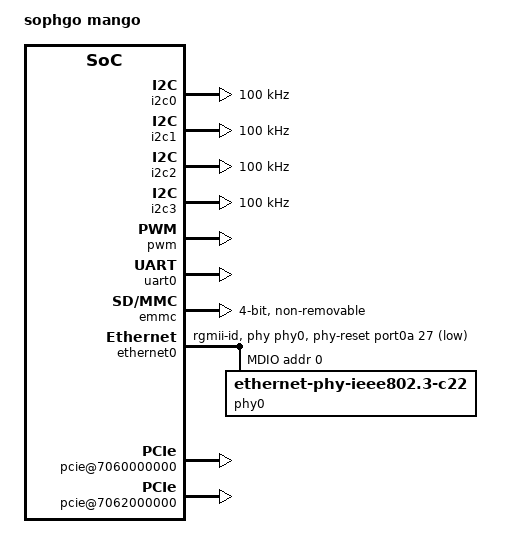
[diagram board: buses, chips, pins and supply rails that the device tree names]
/dts-v1/;
#include <dt-bindings/clock/sophgo.h>
#include <dt-bindings/clock/mango-clock.h>
#include <dt-bindings/reset/mango-resets.h>

#include "mango_clock.dtsi"
#include "mango_pinctrl.dtsi"

/ {
	model = "sophgo mango";
	compatible = "sophgo, sg2040_mango_pld";
	#address-cells = <2>;
	#size-cells = <2>;

	distance-map {
		compatible = "numa-distance-map-v1";
		distance-matrix = <0 0 10>,
				  <0 1 15>,
				  <0 2 25>,
				  <0 3 30>,
				  <1 0 15>,
				  <1 1 10>,
				  <1 2 30>,
				  <1 3 25>,
				  <2 0 25>,
				  <2 1 30>,
				  <2 2 10>,
				  <2 3 15>,
				  <3 0 30>,
				  <3 1 25>,
				  <3 2 15>,
				  <3 3 10>;
	};

	/* the mem node will be updated by ZSBL. */
	memory@0 {
		device_type = "memory";
		reg = <0x00000000 0x00000000 0x00000000 0x00000000>;
		numa-node-id = <0>;
	};
	memory@1 {
		device_type = "memory";
		reg = <0x00000000 0x00000001 0x00000000 0x00000000>;
		numa-node-id = <1>;
	};
	memory@2 {
		device_type = "memory";
		reg = <0x00000000 0x00000002 0x00000000 0x00000000>;
		numa-node-id = <2>;
	};
	memory@3 {
		device_type = "memory";
		reg = <0x00000000 0x00000003 0x00000000 0x00000000>;
		numa-node-id = <3>;
	};


	cpus {
		#address-cells = <1>;
		#size-cells = <0>;
		timebase-frequency = <50000000>;
		cpu@0 {
			device_type = "cpu";
			reg = <0>;
			status = "okay";
			compatible = "riscv";
			riscv,isa = "rv64imafdcvsu";
			mmu-type = "riscv,sv39";
			numa-node-id = <0>;
			cpu0_intc: interrupt-controller {
				#interrupt-cells = <1>;
				compatible = "riscv,cpu-intc";
				interrupt-controller;
			};
		};
		cpu@1 {
			device_type = "cpu";
			reg = <1>;
			status = "okay";
			compatible = "riscv";
			riscv,isa = "rv64imafdcvsu";
			mmu-type = "riscv,sv39";
			numa-node-id = <0>;
			cpu1_intc: interrupt-controller {
				#interrupt-cells = <1>;
				compatible = "riscv,cpu-intc";
				interrupt-controller;
			};
		};
		cpu@2 {
			device_type = "cpu";
			reg = <2>;
			status = "okay";
			compatible = "riscv";
			riscv,isa = "rv64imafdcvsu";
			mmu-type = "riscv,sv39";
			numa-node-id = <0>;
			cpu2_intc: interrupt-controller {
				#interrupt-cells = <1>;
				compatible = "riscv,cpu-intc";
				interrupt-controller;
			};
		};
		cpu@3 {
			device_type = "cpu";
			reg = <3>;
			status = "okay";
			compatible = "riscv";
			riscv,isa = "rv64imafdcvsu";
			mmu-type = "riscv,sv39";
			numa-node-id = <0>;
			cpu3_intc: interrupt-controller {
				#interrupt-cells = <1>;
				compatible = "riscv,cpu-intc";
				interrupt-controller;
			};
		};
		cpu@4 {
			device_type = "cpu";
			reg = <4>;
			status = "okay";
			compatible = "riscv";
			riscv,isa = "rv64imafdcvsu";
			mmu-type = "riscv,sv39";
			numa-node-id = <0>;
			cpu4_intc: interrupt-controller {
				#interrupt-cells = <1>;
				compatible = "riscv,cpu-intc";
				interrupt-controller;
			};
		};
		cpu@5 {
			device_type = "cpu";
			reg = <5>;
			status = "okay";
			compatible = "riscv";
			riscv,isa = "rv64imafdcvsu";
			mmu-type = "riscv,sv39";
			numa-node-id = <0>;
			cpu5_intc: interrupt-controller {
				#interrupt-cells = <1>;
				compatible = "riscv,cpu-intc";
				interrupt-controller;
			};
		};
		cpu@6 {
			device_type = "cpu";
			reg = <6>;
			status = "okay";
			compatible = "riscv";
			riscv,isa = "rv64imafdcvsu";
			mmu-type = "riscv,sv39";
			numa-node-id = <0>;
			cpu6_intc: interrupt-controller {
				#interrupt-cells = <1>;
				compatible = "riscv,cpu-intc";
				interrupt-controller;
			};
		};
		cpu@7 {
			device_type = "cpu";
			reg = <7>;
			status = "okay";
			compatible = "riscv";
			riscv,isa = "rv64imafdcvsu";
			mmu-type = "riscv,sv39";
			numa-node-id = <0>;
			cpu7_intc: interrupt-controller {
				#interrupt-cells = <1>;
				compatible = "riscv,cpu-intc";
				interrupt-controller;
			};
		};
		cpu@8 {
			device_type = "cpu";
			reg = <8>;
			status = "okay";
			compatible = "riscv";
			riscv,isa = "rv64imafdcvsu";
			mmu-type = "riscv,sv39";
			numa-node-id = <1>;
			cpu8_intc: interrupt-controller {
				#interrupt-cells = <1>;
				compatible = "riscv,cpu-intc";
				interrupt-controller;
			};
		};
		cpu@9 {
			device_type = "cpu";
			reg = <9>;
			status = "okay";
			compatible = "riscv";
			riscv,isa = "rv64imafdcvsu";
			mmu-type = "riscv,sv39";
			numa-node-id = <1>;
			cpu9_intc: interrupt-controller {
				#interrupt-cells = <1>;
				compatible = "riscv,cpu-intc";
				interrupt-controller;
			};
		};
		cpu@10 {
			device_type = "cpu";
			reg = <10>;
			status = "okay";
			compatible = "riscv";
			riscv,isa = "rv64imafdcvsu";
			mmu-type = "riscv,sv39";
			numa-node-id = <1>;
			cpu10_intc: interrupt-controller {
				#interrupt-cells = <1>;
				compatible = "riscv,cpu-intc";
				interrupt-controller;
			};
		};
		cpu@11 {
			device_type = "cpu";
			reg = <11>;
			status = "okay";
			compatible = "riscv";
			riscv,isa = "rv64imafdcvsu";
			mmu-type = "riscv,sv39";
			numa-node-id = <1>;
			cpu11_intc: interrupt-controller {
				#interrupt-cells = <1>;
				compatible = "riscv,cpu-intc";
				interrupt-controller;
			};
		};
		cpu@12 {
			device_type = "cpu";
			reg = <12>;
			status = "okay";
			compatible = "riscv";
			riscv,isa = "rv64imafdcvsu";
			mmu-type = "riscv,sv39";
			numa-node-id = <1>;
			cpu12_intc: interrupt-controller {
				#interrupt-cells = <1>;
				compatible = "riscv,cpu-intc";
				interrupt-controller;
			};
		};
		cpu@13 {
			device_type = "cpu";
			reg = <13>;
			status = "okay";
			compatible = "riscv";
			riscv,isa = "rv64imafdcvsu";
			mmu-type = "riscv,sv39";
			numa-node-id = <1>;
			cpu13_intc: interrupt-controller {
				#interrupt-cells = <1>;
				compatible = "riscv,cpu-intc";
				interrupt-controller;
			};
		};
		cpu@14 {
			device_type = "cpu";
			reg = <14>;
			status = "okay";
			compatible = "riscv";
			riscv,isa = "rv64imafdcvsu";
			mmu-type = "riscv,sv39";
			numa-node-id = <1>;
			cpu14_intc: interrupt-controller {
				#interrupt-cells = <1>;
				compatible = "riscv,cpu-intc";
				interrupt-controller;
			};
		};
		cpu@15 {
			device_type = "cpu";
			reg = <15>;
			status = "okay";
			compatible = "riscv";
			riscv,isa = "rv64imafdcvsu";
			mmu-type = "riscv,sv39";
			numa-node-id = <1>;
			cpu15_intc: interrupt-controller {
				#interrupt-cells = <1>;
				compatible = "riscv,cpu-intc";
				interrupt-controller;
			};
		};
		cpu@16 {
			device_type = "cpu";
			reg = <16>;
			status = "okay";
			compatible = "riscv";
			riscv,isa = "rv64imafdcvsu";
			mmu-type = "riscv,sv39";
			numa-node-id = <0>;
			cpu16_intc: interrupt-controller {
				#interrupt-cells = <1>;
				compatible = "riscv,cpu-intc";
				interrupt-controller;
			};
		};
		cpu@17 {
			device_type = "cpu";
			reg = <17>;
			status = "okay";
			compatible = "riscv";
			riscv,isa = "rv64imafdcvsu";
			mmu-type = "riscv,sv39";
			numa-node-id = <0>;
			cpu17_intc: interrupt-controller {
				#interrupt-cells = <1>;
				compatible = "riscv,cpu-intc";
				interrupt-controller;
			};
		};
		cpu@18 {
			device_type = "cpu";
			reg = <18>;
			status = "okay";
			compatible = "riscv";
			riscv,isa = "rv64imafdcvsu";
			mmu-type = "riscv,sv39";
			numa-node-id = <0>;
			cpu18_intc: interrupt-controller {
				#interrupt-cells = <1>;
				compatible = "riscv,cpu-intc";
				interrupt-controller;
			};
		};
		cpu@19 {
			device_type = "cpu";
			reg = <19>;
			status = "okay";
			compatible = "riscv";
			riscv,isa = "rv64imafdcvsu";
			mmu-type = "riscv,sv39";
			numa-node-id = <0>;
			cpu19_intc: interrupt-controller {
				#interrupt-cells = <1>;
				compatible = "riscv,cpu-intc";
				interrupt-controller;
			};
		};
		cpu@20 {
			device_type = "cpu";
			reg = <20>;
			status = "okay";
			compatible = "riscv";
			riscv,isa = "rv64imafdcvsu";
			mmu-type = "riscv,sv39";
			numa-node-id = <0>;
			cpu20_intc: interrupt-controller {
				#interrupt-cells = <1>;
				compatible = "riscv,cpu-intc";
				interrupt-controller;
			};
		};
		cpu@21 {
			device_type = "cpu";
			reg = <21>;
			status = "okay";
			compatible = "riscv";
			riscv,isa = "rv64imafdcvsu";
			mmu-type = "riscv,sv39";
			numa-node-id = <0>;
			cpu21_intc: interrupt-controller {
				#interrupt-cells = <1>;
				compatible = "riscv,cpu-intc";
				interrupt-controller;
			};
		};
		cpu@22 {
			device_type = "cpu";
			reg = <22>;
			status = "okay";
			compatible = "riscv";
			riscv,isa = "rv64imafdcvsu";
			mmu-type = "riscv,sv39";
			numa-node-id = <0>;
			cpu22_intc: interrupt-controller {
				#interrupt-cells = <1>;
				compatible = "riscv,cpu-intc";
				interrupt-controller;
			};
		};
		cpu@23 {
			device_type = "cpu";
			reg = <23>;
			status = "okay";
			compatible = "riscv";
			riscv,isa = "rv64imafdcvsu";
			mmu-type = "riscv,sv39";
			numa-node-id = <0>;
			cpu23_intc: interrupt-controller {
				#interrupt-cells = <1>;
				compatible = "riscv,cpu-intc";
				interrupt-controller;
			};
		};
		cpu@24 {
			device_type = "cpu";
			reg = <24>;
			status = "okay";
			compatible = "riscv";
			riscv,isa = "rv64imafdcvsu";
			mmu-type = "riscv,sv39";
			numa-node-id = <1>;
			cpu24_intc: interrupt-controller {
				#interrupt-cells = <1>;
				compatible = "riscv,cpu-intc";
				interrupt-controller;
			};
		};
		cpu@25 {
			device_type = "cpu";
			reg = <25>;
			status = "okay";
			compatible = "riscv";
			riscv,isa = "rv64imafdcvsu";
			mmu-type = "riscv,sv39";
			numa-node-id = <1>;
			cpu25_intc: interrupt-controller {
				#interrupt-cells = <1>;
				compatible = "riscv,cpu-intc";
				interrupt-controller;
			};
		};
		cpu@26 {
			device_type = "cpu";
			reg = <26>;
			status = "okay";
			compatible = "riscv";
			riscv,isa = "rv64imafdcvsu";
			mmu-type = "riscv,sv39";
			numa-node-id = <1>;
			cpu26_intc: interrupt-controller {
				#interrupt-cells = <1>;
				compatible = "riscv,cpu-intc";
				interrupt-controller;
			};
		};
		cpu@27 {
			device_type = "cpu";
			reg = <27>;
			status = "okay";
			compatible = "riscv";
			riscv,isa = "rv64imafdcvsu";
			mmu-type = "riscv,sv39";
			numa-node-id = <1>;
			cpu27_intc: interrupt-controller {
				#interrupt-cells = <1>;
				compatible = "riscv,cpu-intc";
				interrupt-controller;
			};
		};
		cpu@28 {
			device_type = "cpu";
			reg = <28>;
			status = "okay";
			compatible = "riscv";
			riscv,isa = "rv64imafdcvsu";
			mmu-type = "riscv,sv39";
			numa-node-id = <1>;
			cpu28_intc: interrupt-controller {
				#interrupt-cells = <1>;
				compatible = "riscv,cpu-intc";
				interrupt-controller;
			};
		};
		cpu@29 {
			device_type = "cpu";
			reg = <29>;
			status = "okay";
			compatible = "riscv";
			riscv,isa = "rv64imafdcvsu";
			mmu-type = "riscv,sv39";
			numa-node-id = <1>;
			cpu29_intc: interrupt-controller {
				#interrupt-cells = <1>;
				compatible = "riscv,cpu-intc";
				interrupt-controller;
			};
		};
		cpu@30 {
			device_type = "cpu";
			reg = <30>;
			status = "okay";
			compatible = "riscv";
			riscv,isa = "rv64imafdcvsu";
			mmu-type = "riscv,sv39";
			numa-node-id = <1>;
			cpu30_intc: interrupt-controller {
				#interrupt-cells = <1>;
				compatible = "riscv,cpu-intc";
				interrupt-controller;
			};
		};
		cpu@31 {
			device_type = "cpu";
			reg = <31>;
			status = "okay";
			compatible = "riscv";
			riscv,isa = "rv64imafdcvsu";
			mmu-type = "riscv,sv39";
			numa-node-id = <1>;
			cpu31_intc: interrupt-controller {
				#interrupt-cells = <1>;
				compatible = "riscv,cpu-intc";
				interrupt-controller;
			};
		};
		cpu@32 {
			device_type = "cpu";
			reg = <32>;
			status = "okay";
			compatible = "riscv";
			riscv,isa = "rv64imafdcvsu";
			mmu-type = "riscv,sv39";
			numa-node-id = <2>;
			cpu32_intc: interrupt-controller {
				#interrupt-cells = <1>;
				compatible = "riscv,cpu-intc";
				interrupt-controller;
			};
		};
		cpu@33 {
			device_type = "cpu";
			reg = <33>;
			status = "okay";
			compatible = "riscv";
			riscv,isa = "rv64imafdcvsu";
			mmu-type = "riscv,sv39";
			numa-node-id = <2>;
			cpu33_intc: interrupt-controller {
				#interrupt-cells = <1>;
				compatible = "riscv,cpu-intc";
				interrupt-controller;
			};
		};
		cpu@34 {
			device_type = "cpu";
			reg = <34>;
			status = "okay";
			compatible = "riscv";
			riscv,isa = "rv64imafdcvsu";
			mmu-type = "riscv,sv39";
			numa-node-id = <2>;
			cpu34_intc: interrupt-controller {
				#interrupt-cells = <1>;
				compatible = "riscv,cpu-intc";
				interrupt-controller;
			};
		};
		cpu@35 {
			device_type = "cpu";
			reg = <35>;
			status = "okay";
			compatible = "riscv";
			riscv,isa = "rv64imafdcvsu";
			mmu-type = "riscv,sv39";
			numa-node-id = <2>;
			cpu35_intc: interrupt-controller {
				#interrupt-cells = <1>;
				compatible = "riscv,cpu-intc";
				interrupt-controller;
			};
		};
		cpu@36 {
			device_type = "cpu";
			reg = <36>;
			status = "okay";
			compatible = "riscv";
			riscv,isa = "rv64imafdcvsu";
			mmu-type = "riscv,sv39";
			numa-node-id = <2>;
			cpu36_intc: interrupt-controller {
				#interrupt-cells = <1>;
				compatible = "riscv,cpu-intc";
				interrupt-controller;
			};
		};
		cpu@37 {
			device_type = "cpu";
			reg = <37>;
			status = "okay";
			compatible = "riscv";
			riscv,isa = "rv64imafdcvsu";
			mmu-type = "riscv,sv39";
			numa-node-id = <2>;
			cpu37_intc: interrupt-controller {
				#interrupt-cells = <1>;
				compatible = "riscv,cpu-intc";
				interrupt-controller;
			};
		};
		cpu@38 {
			device_type = "cpu";
			reg = <38>;
			status = "okay";
			compatible = "riscv";
			riscv,isa = "rv64imafdcvsu";
			mmu-type = "riscv,sv39";
			numa-node-id = <2>;
			cpu38_intc: interrupt-controller {
				#interrupt-cells = <1>;
				compatible = "riscv,cpu-intc";
				interrupt-controller;
			};
		};
		cpu@39 {
			device_type = "cpu";
			reg = <39>;
			status = "okay";
			compatible = "riscv";
			riscv,isa = "rv64imafdcvsu";
			mmu-type = "riscv,sv39";
			numa-node-id = <2>;
			cpu39_intc: interrupt-controller {
				#interrupt-cells = <1>;
				compatible = "riscv,cpu-intc";
				interrupt-controller;
			};
		};
		cpu@40 {
			device_type = "cpu";
			reg = <40>;
			status = "okay";
			compatible = "riscv";
			riscv,isa = "rv64imafdcvsu";
			mmu-type = "riscv,sv39";
			numa-node-id = <3>;
			cpu40_intc: interrupt-controller {
				#interrupt-cells = <1>;
				compatible = "riscv,cpu-intc";
				interrupt-controller;
			};
		};
		cpu@41 {
			device_type = "cpu";
			reg = <41>;
			status = "okay";
			compatible = "riscv";
			riscv,isa = "rv64imafdcvsu";
			mmu-type = "riscv,sv39";
			numa-node-id = <3>;
			cpu41_intc: interrupt-controller {
				#interrupt-cells = <1>;
				compatible = "riscv,cpu-intc";
				interrupt-controller;
			};
		};
		cpu@42 {
			device_type = "cpu";
			reg = <42>;
			status = "okay";
			compatible = "riscv";
			riscv,isa = "rv64imafdcvsu";
			mmu-type = "riscv,sv39";
			numa-node-id = <3>;
			cpu42_intc: interrupt-controller {
				#interrupt-cells = <1>;
				compatible = "riscv,cpu-intc";
				interrupt-controller;
			};
		};
		cpu@43 {
			device_type = "cpu";
			reg = <43>;
			status = "okay";
			compatible = "riscv";
			riscv,isa = "rv64imafdcvsu";
			mmu-type = "riscv,sv39";
			numa-node-id = <3>;
			cpu43_intc: interrupt-controller {
				#interrupt-cells = <1>;
				compatible = "riscv,cpu-intc";
				interrupt-controller;
			};
		};
		cpu@44 {
			device_type = "cpu";
			reg = <44>;
			status = "okay";
			compatible = "riscv";
			riscv,isa = "rv64imafdcvsu";
			mmu-type = "riscv,sv39";
			numa-node-id = <3>;
			cpu44_intc: interrupt-controller {
				#interrupt-cells = <1>;
				compatible = "riscv,cpu-intc";
				interrupt-controller;
			};
		};
		cpu@45 {
			device_type = "cpu";
			reg = <45>;
			status = "okay";
			compatible = "riscv";
			riscv,isa = "rv64imafdcvsu";
			mmu-type = "riscv,sv39";
			numa-node-id = <3>;
			cpu45_intc: interrupt-controller {
				#interrupt-cells = <1>;
				compatible = "riscv,cpu-intc";
				interrupt-controller;
			};
		};
		cpu@46 {
			device_type = "cpu";
			reg = <46>;
			status = "okay";
			compatible = "riscv";
			riscv,isa = "rv64imafdcvsu";
			mmu-type = "riscv,sv39";
			numa-node-id = <3>;
			cpu46_intc: interrupt-controller {
				#interrupt-cells = <1>;
				compatible = "riscv,cpu-intc";
				interrupt-controller;
			};
		};
		cpu@47 {
			device_type = "cpu";
			reg = <47>;
			status = "okay";
			compatible = "riscv";
			riscv,isa = "rv64imafdcvsu";
			mmu-type = "riscv,sv39";
			numa-node-id = <3>;
			cpu47_intc: interrupt-controller {
				#interrupt-cells = <1>;
				compatible = "riscv,cpu-intc";
				interrupt-controller;
			};
		};
		cpu@48 {
			device_type = "cpu";
			reg = <48>;
			status = "okay";
			compatible = "riscv";
			riscv,isa = "rv64imafdcvsu";
			mmu-type = "riscv,sv39";
			numa-node-id = <2>;
			cpu48_intc: interrupt-controller {
				#interrupt-cells = <1>;
				compatible = "riscv,cpu-intc";
				interrupt-controller;
			};
		};
		cpu@49 {
			device_type = "cpu";
			reg = <49>;
			status = "okay";
			compatible = "riscv";
			riscv,isa = "rv64imafdcvsu";
			mmu-type = "riscv,sv39";
			numa-node-id = <2>;
			cpu49_intc: interrupt-controller {
				#interrupt-cells = <1>;
				compatible = "riscv,cpu-intc";
				interrupt-controller;
			};
		};
		cpu@50 {
			device_type = "cpu";
			reg = <50>;
			status = "okay";
			compatible = "riscv";
			riscv,isa = "rv64imafdcvsu";
			mmu-type = "riscv,sv39";
			numa-node-id = <2>;
			cpu50_intc: interrupt-controller {
				#interrupt-cells = <1>;
				compatible = "riscv,cpu-intc";
				interrupt-controller;
			};
		};
		cpu@51 {
			device_type = "cpu";
			reg = <51>;
			status = "okay";
			compatible = "riscv";
			riscv,isa = "rv64imafdcvsu";
			mmu-type = "riscv,sv39";
			numa-node-id = <2>;
			cpu51_intc: interrupt-controller {
				#interrupt-cells = <1>;
				compatible = "riscv,cpu-intc";
				interrupt-controller;
			};
		};
		cpu@52 {
			device_type = "cpu";
			reg = <52>;
			status = "okay";
			compatible = "riscv";
			riscv,isa = "rv64imafdcvsu";
			mmu-type = "riscv,sv39";
			numa-node-id = <2>;
			cpu52_intc: interrupt-controller {
				#interrupt-cells = <1>;
				compatible = "riscv,cpu-intc";
				interrupt-controller;
			};
		};
		cpu@53 {
			device_type = "cpu";
			reg = <53>;
			status = "okay";
			compatible = "riscv";
			riscv,isa = "rv64imafdcvsu";
			mmu-type = "riscv,sv39";
			numa-node-id = <2>;
			cpu53_intc: interrupt-controller {
				#interrupt-cells = <1>;
				compatible = "riscv,cpu-intc";
				interrupt-controller;
			};
		};
		cpu@54 {
			device_type = "cpu";
			reg = <54>;
			status = "okay";
			compatible = "riscv";
			riscv,isa = "rv64imafdcvsu";
			mmu-type = "riscv,sv39";
			numa-node-id = <2>;
			cpu54_intc: interrupt-controller {
				#interrupt-cells = <1>;
				compatible = "riscv,cpu-intc";
				interrupt-controller;
			};
		};
		cpu@55 {
			device_type = "cpu";
			reg = <55>;
			status = "okay";
			compatible = "riscv";
			riscv,isa = "rv64imafdcvsu";
			mmu-type = "riscv,sv39";
			numa-node-id = <2>;
			cpu55_intc: interrupt-controller {
				#interrupt-cells = <1>;
				compatible = "riscv,cpu-intc";
				interrupt-controller;
			};
		};
		cpu@56 {
			device_type = "cpu";
			reg = <56>;
			status = "okay";
			compatible = "riscv";
			riscv,isa = "rv64imafdcvsu";
			mmu-type = "riscv,sv39";
			numa-node-id = <3>;
			cpu56_intc: interrupt-controller {
				#interrupt-cells = <1>;
				compatible = "riscv,cpu-intc";
				interrupt-controller;
			};
		};
		cpu@57 {
			device_type = "cpu";
			reg = <57>;
			status = "okay";
			compatible = "riscv";
			riscv,isa = "rv64imafdcvsu";
			mmu-type = "riscv,sv39";
			numa-node-id = <3>;
			cpu57_intc: interrupt-controller {
				#interrupt-cells = <1>;
				compatible = "riscv,cpu-intc";
				interrupt-controller;
			};
		};
		cpu@58 {
			device_type = "cpu";
			reg = <58>;
			status = "okay";
			compatible = "riscv";
			riscv,isa = "rv64imafdcvsu";
			mmu-type = "riscv,sv39";
			numa-node-id = <3>;
			cpu58_intc: interrupt-controller {
				#interrupt-cells = <1>;
				compatible = "riscv,cpu-intc";
				interrupt-controller;
			};
		};
		cpu@59 {
			device_type = "cpu";
			reg = <59>;
			status = "okay";
			compatible = "riscv";
			riscv,isa = "rv64imafdcvsu";
			mmu-type = "riscv,sv39";
			numa-node-id = <3>;
			cpu59_intc: interrupt-controller {
				#interrupt-cells = <1>;
				compatible = "riscv,cpu-intc";
				interrupt-controller;
			};
		};
		cpu@60 {
			device_type = "cpu";
			reg = <60>;
			status = "okay";
			compatible = "riscv";
			riscv,isa = "rv64imafdcvsu";
			mmu-type = "riscv,sv39";
			numa-node-id = <3>;
			cpu60_intc: interrupt-controller {
				#interrupt-cells = <1>;
				compatible = "riscv,cpu-intc";
				interrupt-controller;
			};
		};
		cpu@61 {
			device_type = "cpu";
			reg = <61>;
			status = "okay";
			compatible = "riscv";
			riscv,isa = "rv64imafdcvsu";
			mmu-type = "riscv,sv39";
			numa-node-id = <3>;
			cpu61_intc: interrupt-controller {
				#interrupt-cells = <1>;
				compatible = "riscv,cpu-intc";
				interrupt-controller;
			};
		};
		cpu@62 {
			device_type = "cpu";
			reg = <62>;
			status = "okay";
			compatible = "riscv";
			riscv,isa = "rv64imafdcvsu";
			mmu-type = "riscv,sv39";
			numa-node-id = <3>;
			cpu62_intc: interrupt-controller {
				#interrupt-cells = <1>;
				compatible = "riscv,cpu-intc";
				interrupt-controller;
			};
		};
		cpu@63 {
			device_type = "cpu";
			reg = <63>;
			status = "okay";
			compatible = "riscv";
			riscv,isa = "rv64imafdcvsu";
			mmu-type = "riscv,sv39";
			numa-node-id = <3>;
			cpu63_intc: interrupt-controller {
				#interrupt-cells = <1>;
				compatible = "riscv,cpu-intc";
				interrupt-controller;
			};
		};
	};

	soc {
		#address-cells = <2>;
		#size-cells = <2>;
		compatible = "simple-bus";
		ranges;

		intc: interrupt-controller@7090000000 {
			#interrupt-cells = <1>;
			compatible = "riscv,plic0";
			interrupt-controller;
			interrupts-extended = <
				&cpu0_intc  0xffffffff &cpu0_intc  9
				&cpu1_intc  0xffffffff &cpu1_intc  9
				&cpu2_intc  0xffffffff &cpu2_intc  9
				&cpu3_intc  0xffffffff &cpu3_intc  9
				&cpu4_intc  0xffffffff &cpu4_intc  9
				&cpu5_intc  0xffffffff &cpu5_intc  9
				&cpu6_intc  0xffffffff &cpu6_intc  9
				&cpu7_intc  0xffffffff &cpu7_intc  9
				&cpu8_intc  0xffffffff &cpu8_intc  9
				&cpu9_intc  0xffffffff &cpu9_intc  9
				&cpu10_intc  0xffffffff &cpu10_intc  9
				&cpu11_intc  0xffffffff &cpu11_intc  9
				&cpu12_intc  0xffffffff &cpu12_intc  9
				&cpu13_intc  0xffffffff &cpu13_intc  9
				&cpu14_intc  0xffffffff &cpu14_intc  9
				&cpu15_intc  0xffffffff &cpu15_intc  9
				&cpu16_intc  0xffffffff &cpu16_intc  9
				&cpu17_intc  0xffffffff &cpu17_intc  9
				&cpu18_intc  0xffffffff &cpu18_intc  9
				&cpu19_intc  0xffffffff &cpu19_intc  9
				&cpu20_intc  0xffffffff &cpu20_intc  9
				&cpu21_intc  0xffffffff &cpu21_intc  9
				&cpu22_intc  0xffffffff &cpu22_intc  9
				&cpu23_intc  0xffffffff &cpu23_intc  9
				&cpu24_intc  0xffffffff &cpu24_intc  9
				&cpu25_intc  0xffffffff &cpu25_intc  9
				&cpu26_intc  0xffffffff &cpu26_intc  9
				&cpu27_intc  0xffffffff &cpu27_intc  9
				&cpu28_intc  0xffffffff &cpu28_intc  9
				&cpu29_intc  0xffffffff &cpu29_intc  9
				&cpu30_intc  0xffffffff &cpu30_intc  9
				&cpu31_intc  0xffffffff &cpu31_intc  9
				&cpu32_intc  0xffffffff &cpu32_intc  9
				&cpu33_intc  0xffffffff &cpu33_intc  9
				&cpu34_intc  0xffffffff &cpu34_intc  9
				&cpu35_intc  0xffffffff &cpu35_intc  9
				&cpu36_intc  0xffffffff &cpu36_intc  9
				&cpu37_intc  0xffffffff &cpu37_intc  9
				&cpu38_intc  0xffffffff &cpu38_intc  9
				&cpu39_intc  0xffffffff &cpu39_intc  9
				&cpu40_intc  0xffffffff &cpu40_intc  9
				&cpu41_intc  0xffffffff &cpu41_intc  9
				&cpu42_intc  0xffffffff &cpu42_intc  9
				&cpu43_intc  0xffffffff &cpu43_intc  9
				&cpu44_intc  0xffffffff &cpu44_intc  9
				&cpu45_intc  0xffffffff &cpu45_intc  9
				&cpu46_intc  0xffffffff &cpu46_intc  9
				&cpu47_intc  0xffffffff &cpu47_intc  9
				&cpu48_intc  0xffffffff &cpu48_intc  9
				&cpu49_intc  0xffffffff &cpu49_intc  9
				&cpu50_intc  0xffffffff &cpu50_intc  9
				&cpu51_intc  0xffffffff &cpu51_intc  9
				&cpu52_intc  0xffffffff &cpu52_intc  9
				&cpu53_intc  0xffffffff &cpu53_intc  9
				&cpu54_intc  0xffffffff &cpu54_intc  9
				&cpu55_intc  0xffffffff &cpu55_intc  9
				&cpu56_intc  0xffffffff &cpu56_intc  9
				&cpu57_intc  0xffffffff &cpu57_intc  9
				&cpu58_intc  0xffffffff &cpu58_intc  9
				&cpu59_intc  0xffffffff &cpu59_intc  9
				&cpu60_intc  0xffffffff &cpu60_intc  9
				&cpu61_intc  0xffffffff &cpu61_intc  9
				&cpu62_intc  0xffffffff &cpu62_intc  9
				&cpu63_intc  0xffffffff &cpu63_intc  9
				>;
			reg = <0x00000070 0x90000000 0x00000000 0x04000000>;
			reg-names = "control";
			riscv,max-priority = <7>;
			riscv,ndev = <172>;
		};

		top_misc: top_misc_ctrl@7030010000 {
			compatible = "sophgo,top-misc", "syscon";
			reg = <0x70 0x30010000 0x0 0x8000>;
			clocks = <&div_clk GATE_CLK_AXI_DBG_I2C>,
				 <&div_clk GATE_CLK_AXI_SRAM>,
				 <&div_clk GATE_CLK_AHB_ROM>;
			clock-names = "dbg_i2c_clk", "axi_sram_clk", "ahb_rom_clk";
		};

		rst: reset-controller {
			#reset-cells = <1>;
			compatible = "bitmain,reset";
			subctrl-syscon = <&top_misc>;
			top_rst_offset = <0x3000>;
			nr_resets = <RST_MAX_NUM>;
		};

		i2c0: i2c@7030005000 {
			#address-cells = <1>;
			#size-cells = <0>;
			clocks = <&div_clk GATE_CLK_APB_I2C>;
			clock-names = "clk_gate_apb_i2c";
			compatible = "snps,designware-i2c";
			reg = <0x70 0x30005000 0x0 0x1000>;
			interrupt-parent = <&intc>;
			interrupts = <101>;
			clock-frequency = <100000>;
		};

		i2c1: i2c@7030006000 {
			#address-cells = <1>;
			#size-cells = <0>;
			clocks = <&div_clk GATE_CLK_APB_I2C>;
			clock-names = "clk_gate_apb_i2c";
			compatible = "snps,designware-i2c";
			reg = <0x70 0x30006000 0x0 0x1000>;
			interrupt-parent = <&intc>;
			interrupts = <102>;
			clock-frequency = <100000>;
		};

		i2c2: i2c@7030007000 {
			#address-cells = <1>;
			#size-cells = <0>;
			clocks = <&div_clk GATE_CLK_APB_I2C>;
			clock-names = "clk_gate_apb_i2c";
			compatible = "snps,designware-i2c";
			reg = <0x70 0x30007000 0x0 0x1000>;
			interrupt-parent = <&intc>;
			interrupts = <103>;
			clock-frequency = <100000>;
		};

		i2c3: i2c@7030008000 {
			#address-cells = <1>;
			#size-cells = <0>;
			clocks = <&div_clk GATE_CLK_APB_I2C>;
			clock-names = "clk_gate_apb_i2c";
			compatible = "snps,designware-i2c";
			reg = <0x70 0x30008000 0x0 0x1000>;
			interrupt-parent = <&intc>;
			interrupts = <104>;
			clock-frequency = <100000>;
		};

		gpio0: gpio@7030009000 {
			compatible = "snps,dw-apb-gpio";
			reg = <0x70 0x30009000 0x0 0x400>;
			#address-cells = <1>;
			#size-cells = <0>;
			clocks = <&div_clk GATE_CLK_APB_GPIO>,
				 <&div_clk GATE_CLK_APB_GPIO_INTR>,
				 <&div_clk GATE_CLK_GPIO_DB>;
			clock-names = "base_clk", "intr_clk", "db_clk";

			port0a: gpio-controller@0 {
				compatible = "snps,dw-apb-gpio-port";
				bank-name = "port0a";
				gpio-controller;
				#gpio-cells = <2>;
				snps,nr-gpios = <32>;
				reg = <0>;
				interrupt-controller;
				#interrupt-cells = <2>;
				interrupt-parent = <&intc>;
				interrupts = <96>;
			};
		};

		pwm: pwm@703000C000 {
			compatible = "bitmain,bm-pwm";
			reg = <0x70 0x3000C000 0x0 0x20>;
			clocks = <&div_clk GATE_CLK_APB_PWM>;
			clock-names = "clk_gate_apb_pwm";
			#pwm-cells = <2>;
			pwm-num = <2>;
			no-polarity;
		};

		tach0: tach@703000C020 {
			compatible = "bitmain,bm-tach";
			reg = <0x70 0x3000C020 0x0 0x8>;
		};

		tach1: tach@703000C028 {
			compatible = "bitmain,bm-tach";
			reg = <0x70 0x3000C028 0x0 0x8>;
		};

		uart0: serial@7040000000 {
			compatible = "snps,dw-apb-uart";
			reg = <0x00000070 0x40000000 0x00000000 0x00001000>;
			interrupt-parent = <&intc>;
			interrupts = <112>;
			clock-frequency = <500000000>;
			clocks = <&div_clk GATE_CLK_UART_500M>,
				   <&div_clk GATE_CLK_SYSDMA_AXI>;
			clock-names = "baudclk", "apb_pclk";
			reg-shift = <2>;
			reg-io-width = <4>;
		};

		emmc: bm-emmc@704002A000 {
			compatible = "bitmain,bm-emmc";
			reg = <0x70 0x4002A000 0x0 0x1000>;
			reg-names = "core_mem";
			interrupt-parent = <&intc>;
			interrupts = <134>;
			bus-width = <4>;
			non-removable;
			no-sdio;
			no-sd;
			resets = <&rst RST_EMMC>;
			reset-names = "emmc";
			clocks =
				<&div_clk GATE_CLK_EMMC_100M>,
				<&div_clk GATE_CLK_AXI_EMMC>,
				<&div_clk GATE_CLK_100K_EMMC>;
			clock-names =
				"clk_gate_emmc",
				"clk_gate_axi_emmc",
				"clk_gate_100k_emmc";
		};

		sd: bm-sd@704002B000 {
			compatible = "bitmain,bm-sd";
			reg = <0x70 0x4002B000 0x0 0x1000>;
			reg-names = "core_mem";
			interrupt-parent = <&intc>;
			interrupts = <136>;
			bus-width = <4>;
			no-sdio;
			no-mmc;
			resets = <&rst RST_SD>;
			reset-names = "sdio";
			clocks =
				<&div_clk GATE_CLK_SD_100M>,
				<&div_clk GATE_CLK_AXI_SD>,
				<&div_clk GATE_CLK_100K_SD>;
			clock-names =
				"clk_gate_sd",
				"clk_gate_axi_sd",
				"clk_gate_100k_sd";
		};

		stmmac_axi_setup: stmmac-axi-config {
			snps,wr_osr_lmt = <1>;
			snps,rd_osr_lmt = <2>;
			snps,blen = <4 8 16 0 0 0 0>;
		};

		mtl_rx_setup: rx-queues-config {
			snps,rx-queues-to-use = <8>;
			queue0 {};
			queue1 {};
			queue2 {};
			queue3 {};
			queue4 {};
			queue5 {};
			queue6 {};
			queue7 {};
		};

		mtl_tx_setup: tx-queues-config {
			snps,tx-queues-to-use = <8>;
			queue0 {};
			queue1 {};
			queue2 {};
			queue3 {};
			queue4 {};
			queue5 {};
			queue6 {};
			queue7 {};
		};

		ethernet0: ethernet@7040026000 {
			compatible = "bitmain,ethernet";
			reg = <0x70 0x40026000 0x0 0x4000>;
			interrupt-parent = <&intc>;
			interrupts = <132>;
			interrupt-names = "macirq";
			clock-names = "clk_tx", "gate_clk_tx", "stmmaceth", "ptp_ref", "gate_clk_ref";
			clocks = <&div_clk DIV_CLK_FPLL_TX_ETH0>,
				   <&div_clk GATE_CLK_TX_ETH0>,
				   <&div_clk GATE_CLK_AXI_ETH0>,
				   <&div_clk GATE_CLK_PTP_REF_I_ETH0>,
				   <&div_clk GATE_CLK_REF_ETH0>;

			/* no hash filter and perfect filter support */
			snps,multicast-filter-bins = <0>;
			snps,perfect-filter-entries = <1>;

			snps,txpbl = <32>;
			snps,rxpbl = <32>;
			snps,aal;

			snps,axi-config = <&stmmac_axi_setup>;
			snps,mtl-rx-config = <&mtl_rx_setup>;
			snps,mtl-tx-config = <&mtl_tx_setup>;

			phy-mode = "rgmii-id";
			phy-reset-gpios = <&port0a 27 0>;
			phy-handle = <&phy0>;
			mdio {
				#address-cells = <0x1>;
				#size-cells = <0x0>;
				compatible = "snps,dwmac-mdio";
				phy0: phy@0 {
					compatible = "ethernet-phy-ieee802.3-c22";
					device_type = "ethernet-phy";
					reg = <0x0>;
				};
			};
		};
	};

	pcie@7060000000 {
		compatible = "sophgo,cdns-pcie-host";
		device_type = "pci";
		#address-cells = <3>;
		#size-cells = <2>;

		bus-range = <0x0 0x7f>;
		linux,pci-domain = <0>;
		cdns,max-outbound-regions = <16>;
		cdns,no-bar-match-nbits = <48>;
		vendor-id = /bits/ 16 <0x1E30>;
		device-id = /bits/ 16 <0x2042>;
		interrupt-parent = <&intc>;
		interrupts = <122>;
		interrupt-names = "msi";
		reg = <0x70 0x60000000  0x0 0x02000000>,
		      <0x40 0x00000000  0x0 0x00001000>;
		reg-names = "reg", "cfg";

		// IO, check IO_SPACE_LIMIT
		// 32bit prefetchable memory
		// 32bit non-prefetchable memory
		// 64bit prefetchable memory
		// 64bit non-prefetchable memory
		ranges = <0x01000000 0x0 0x00000000  0x40 0x10000000  0x0 0x00800000>,
			 <0x42000000 0x0 0x20000000  0x40 0x20000000  0x0 0x50000000>,
			 <0x02000000 0x0 0x70000000  0x40 0x70000000  0x0 0x20000000>,
			 <0x43000000 0x1 0x00000000  0x41 0x00000000  0x2 0x00000000>,
			 <0x03000000 0x3 0x00000000  0x43 0x00000000  0x1 0x00000000>;

		status = "okay";
	};

	pcie@7062000000 {
		compatible = "sophgo,cdns-pcie-host";
		device_type = "pci";
		#address-cells = <3>;
		#size-cells = <2>;

		bus-range = <0x80 0xff>;
		linux,pci-domain = <1>;
		cdns,max-outbound-regions = <16>;
		cdns,no-bar-match-nbits = <48>;
		vendor-id = /bits/ 16 <0x1E30>;
		device-id = /bits/ 16 <0x2042>;
		interrupt-parent = <&intc>;
		interrupts = <123>;
		interrupt-names = "msi";
		reg = <0x70 0x62000000  0x0 0x02000000>,
		      <0x48 0x00000000  0x0 0x00001000>;
		reg-names = "reg", "cfg";

		// IO, check IO_SPACE_LIMIT
		// 32bit prefetchable memory
		// 32bit non-prefetchable memory
		// 64bit prefetchable memory
		// 64bit non-prefetchable memory
		ranges = <0x01000000 0x0 0x00800000  0x48 0x10800000  0x0 0x00800000>,
			 <0x42000000 0x0 0x90000000  0x48 0x90000000  0x0 0x50000000>,
			 <0x02000000 0x0 0xe0000000  0x48 0xe0000000  0x0 0x20000000>,
			 <0x43000000 0x9 0x00000000  0x49 0x00000000  0x2 0x00000000>,
			 <0x03000000 0xb 0x00000000  0x4b 0x00000000  0x1 0x00000000>;

		status = "okay";
	};

	aliases {
		serial0 = &uart0;
	};

	chosen {
		bootargs = "console=ttyS0,115200 earlycon ignore_loglevel rdinit=/init root=/dev/ram0 rw initrd=0x30000000,32M retain_initrd maxcpus=1 nvme.use_threaded_interrupts=1";
		stdout-path = "serial0";
	};
};
